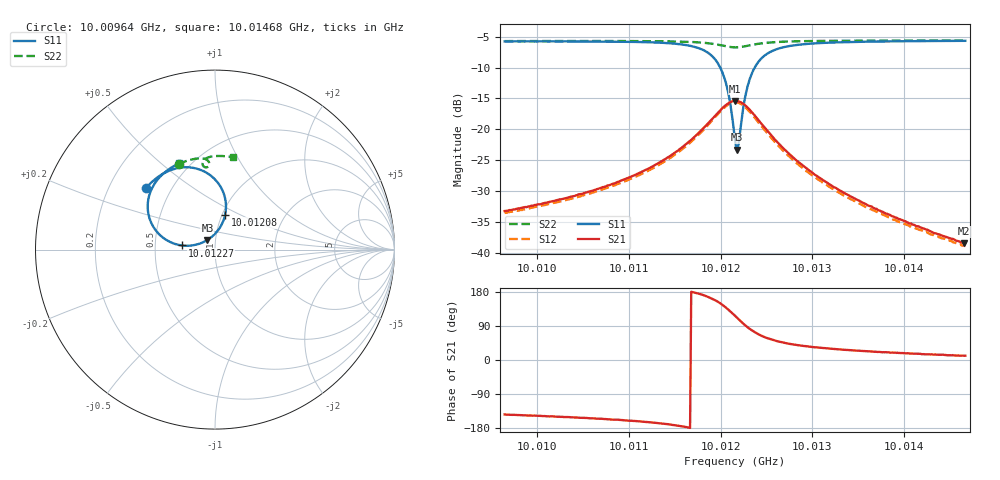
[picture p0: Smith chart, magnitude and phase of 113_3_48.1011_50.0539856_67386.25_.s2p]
#  HZ  S  RI  R  50.00
! Rohde & Schwarz Vector Network Analyzer
! Rohde-Schwarz,ZNB20-2Port,1311601062101988,3.16
! Created: UTC 12/23/2023, 3:46:00 AM
! freq[Hz]  re:S11  im:S11  re:S21  im:S21  re:S12  im:S12  re:S22  im:S22
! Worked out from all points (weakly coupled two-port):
!   401 points, 10.00964 GHz to 10.01468 GHz, reference 50 ohm
!   highest |S21| = -15.40 dB at 10.01216 GHz (marker M1); lowest = -38.5 dB at 10.01466 GHz (marker M2)
!   lowest |S11| = -23.3 dB at 10.01218 GHz (marker M3), VSWR 1.15, Z = 45.7 + j4.95 ohm
!   |S11| at or under -10 dB: 10.012 GHz to 10.01237 GHz (376.9 kHz wide, 0.00376 % of centre)
!   |S22| runs from -6.7 to -5.6 dB; largest |S21 - S12| = 0.0084
!   S11 on the Smith chart (normalised r, x): 10.00964 GHz: 0.36, +0.34; 10.01208 GHz: 1.03, +0.41; 10.01227 GHz: 0.69, +0.03; 10.01468 GHz: 0.44, +0.58
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1.0009641e10  -0.3843 0.3433  -0.0175 -0.0129  -0.0162 -0.0132  -0.2033 0.4765
1.0010484e10  -0.3289 0.3961  -0.0265 -0.0138  -0.0251 -0.0146  -0.1503 0.4966
1.0010975e10  -0.2804 0.4278  -0.0375 -0.014  -0.0352 -0.0151  -0.1167 0.5052
1.0011328e10  -0.2257 0.45  -0.052 -0.012  -0.0494 -0.0143  -0.09 0.5088
1.001168e10  -0.1237 0.456  -0.0821 5.64e-05  -0.0792 -0.00424  -0.0589 0.5065
1.0011869e10  -0.025 0.4133  -0.1093 0.0274  -0.1074 0.0205  -0.0401 0.4962
1.0011995e10  0.0478 0.3151  -0.1232 0.0708  -0.1233 0.0631  -0.0318 0.4805
1.0012045e10  0.0611 0.2496  -0.1199 0.0969  -0.1214 0.0889  -0.0324 0.4721
1.0012083e10  0.0562 0.1925  -0.1112 0.1175  -0.114 0.1097  -0.0352 0.466
1.0012158e10  -0.00628 0.0816  -0.0767 0.1516  -0.0796 0.1453  -0.0468 0.4582
1.0012184e10  -0.042 0.0539  -0.0605 0.1582  -0.0633 0.1523  -0.0518 0.4581
1.0012209e10  -0.0821 0.0343  -0.043 0.1615  -0.0471 0.1556  -0.0565 0.459
1.0012272e10  -0.1849 0.0232  -0.00303 0.1559  -0.00794 0.1504  -0.0657 0.466
1.0012309e10  -0.2383 0.0372  0.0157 0.1458  0.0107 0.1408  -0.0686 0.472
1.001236e10  -0.2938 0.07  0.0331 0.1289  0.0277 0.1246  -0.0696 0.4803
1.0012486e10  -0.3617 0.165  0.0512 0.0886  0.0455 0.0865  -0.0632 0.4965
1.0012712e10  -0.371 0.2821  0.0479 0.0473  0.0435 0.0469  -0.0431 0.5115
1.0013002e10  -0.3429 0.3569  0.0368 0.0251  0.0338 0.0256  -0.0186 0.5184
1.0013367e10  -0.3062 0.4058  0.0268 0.0134  0.0248 0.0142  0.0089 0.5214
1.0013845e10  -0.2638 0.4427  0.0191 0.00686  0.0177 0.00759  0.0428 0.5213
1.0014663e10  -0.2007 0.4805  0.0117 0.00228  0.011 0.0028  0.0972 0.5152
1.0014676e10  -0.1997 0.4808  0.0117 0.00235  0.0109 0.00287  0.0981 0.515
